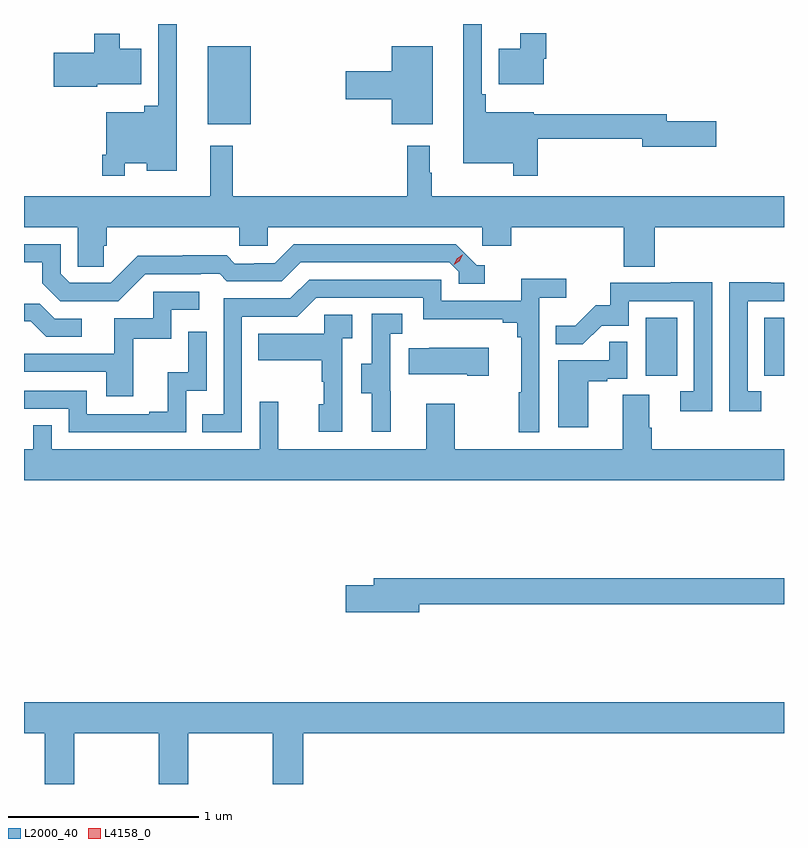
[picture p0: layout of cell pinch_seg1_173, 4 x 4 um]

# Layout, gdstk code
import gdstk
lib = gdstk.Library(unit=1e-6, precision=1e-09)
def R(c, l, rs):  # rectangles x0, y0, x1, y1
    for r in rs: c.add(gdstk.rectangle(r[:2], r[2:], *l))
def P(c, l, *ps):  # polygons
    for p in ps: c.add(gdstk.Polygon(p, *l))
L2000_40 = (2000, 40)
L4158_0 = (4158, 0)

pinch_seg1_173 = lib.new_cell('pinch_seg1_173')
R(pinch_seg1_173, L2000_40, [(1127.954,542.958,1128.118,543.265), (1128.578,542.958,1128.681,543.265), (1125.647,544.283,1125.874,544.693)])
P(pinch_seg1_173, L2000_40, [(1127.384,544.206),(1127.936,544.206),(1127.936,544.163),(1128.325,544.163),(1128.325,544.298),(1128.064,544.298),(1128.064,544.334),(1127.365,544.334),(1127.365,544.345),(1127.111,544.345),(1127.111,544.441),(1127.091,544.441),(1127.091,544.81),(1126.994,544.81),(1126.994,544.076),(1127.256,544.076),(1127.256,544.011),(1127.384,544.011)],
  [(1125.21,544.076),(1125.326,544.076),(1125.326,544.037),(1125.484,544.037),(1125.484,544.81),(1125.387,544.81),(1125.387,544.381),(1125.314,544.381),(1125.314,544.345),(1125.114,544.345),(1125.114,544.123),(1125.094,544.123),(1125.094,544.011),(1125.21,544.011)],
  [(1127.416,544.626),(1127.429,544.626),(1127.429,544.762),(1127.294,544.762),(1127.294,544.681),(1127.18,544.681),(1127.18,544.493),(1127.416,544.493)],
  [(1125.066,544.493),(1125.298,544.493),(1125.298,544.681),(1125.184,544.681),(1125.184,544.759),(1125.05,544.759),(1125.05,544.659),(1124.838,544.659),(1124.838,544.481),(1125.066,544.481)],
  [(1126.831,544.693),(1126.616,544.693),(1126.616,544.562),(1126.374,544.562),(1126.374,544.415),(1126.616,544.415),(1126.616,544.283),(1126.831,544.283)],
  [(1125.101,543.642),(1125.116,543.642),(1125.116,543.74),(1125.813,543.74),(1125.813,543.642),(1125.963,543.642),(1125.963,543.74),(1127.094,543.74),(1127.094,543.642),(1127.246,543.642),(1127.246,543.74),(1127.837,543.74),(1127.837,543.532),(1128.002,543.532),(1128.002,543.74),(1128.681,543.74),(1128.681,543.904),(1126.828,543.904),(1126.828,544.028),(1126.816,544.028),(1126.816,544.168),(1126.699,544.168),(1126.699,543.904),(1125.779,543.904),(1125.779,544.168),(1125.662,544.168),(1125.662,543.904),(1124.681,543.904),(1124.681,543.74),(1124.964,543.74),(1124.964,543.532),(1125.101,543.532)],
  [(1125.318,543.492),(1125.611,543.492),(1125.611,543.495),(1125.71,543.495),(1125.749,543.456),(1126.038,543.456),(1126.137,543.555),(1126.92,543.555),(1126.968,543.507),(1126.968,543.444),(1127.107,543.444),(1127.107,543.54),(1127.064,543.54),(1126.953,543.651),(1126.1,543.651),(1126.001,543.552),(1125.894,543.552),(1125.894,543.549),(1125.791,543.549),(1125.749,543.592),(1125.516,543.592),(1125.516,543.589),(1125.28,543.589),(1125.138,543.447),(1124.922,543.447),(1124.874,543.495),(1124.874,543.651),(1124.681,543.651),(1124.681,543.555),(1124.777,543.555),(1124.777,543.445),(1124.871,543.351),(1125.177,543.351)],
  [(1125.828,543.27),(1126.119,543.27),(1126.218,543.369),(1126.782,543.369),(1126.782,543.257),(1127.201,543.257),(1127.201,543.238),(1127.278,543.238),(1127.278,543.161),(1127.297,543.161),(1127.297,542.873),(1127.286,542.873),(1127.286,542.661),(1127.394,542.661),(1127.394,543.368),(1127.536,543.368),(1127.536,543.47),(1127.297,543.47),(1127.297,543.354),(1126.878,543.354),(1126.878,543.465),(1126.181,543.465),(1126.082,543.366),(1125.732,543.366),(1125.732,542.757),(1125.619,542.757),(1125.619,542.661),(1125.828,542.661)],
  [(1128.303,543.452),(1128.085,543.452),(1128.085,543.447),(1127.767,543.447),(1127.767,543.33),(1127.69,543.33),(1127.583,543.223),(1127.479,543.223),(1127.479,543.124),(1127.623,543.124),(1127.721,543.222),(1127.865,543.222),(1127.865,543.351),(1128.207,543.351),(1128.207,542.877),(1128.135,542.877),(1128.135,542.772),(1128.303,542.772)],
  [(1128.562,542.877),(1128.489,542.877),(1128.489,543.351),(1128.681,543.351),(1128.681,543.447),(1128.611,543.447),(1128.611,543.452),(1128.393,543.452),(1128.393,542.772),(1128.562,542.772)],
  [(1125.257,543.153),(1125.456,543.153),(1125.456,543.306),(1125.604,543.306),(1125.604,543.402),(1125.36,543.402),(1125.36,543.261),(1125.155,543.261),(1125.155,543.075),(1124.681,543.075),(1124.681,542.979),(1125.113,542.979),(1125.113,542.85),(1125.257,542.85)],
  [(1124.986,543.258),(1124.844,543.258),(1124.764,543.338),(1124.681,543.338),(1124.681,543.246),(1124.717,543.246),(1124.798,543.165),(1124.986,543.165)],
  [(1126.61,542.877),(1126.608,542.877),(1126.608,543.181),(1126.672,543.181),(1126.672,543.284),(1126.512,543.284),(1126.512,543.021),(1126.457,543.021),(1126.457,542.866),(1126.511,542.866),(1126.511,542.664),(1126.61,542.664)],
  [(1126.356,543.155),(1126.408,543.155),(1126.408,543.279),(1126.26,543.279),(1126.26,543.181),(1125.913,543.181),(1125.913,543.041),(1126.248,543.041),(1126.248,542.927),(1126.258,542.927),(1126.258,542.808),(1126.232,542.808),(1126.232,542.664),(1126.356,542.664)],
  [(1125.534,542.88),(1125.642,542.88),(1125.642,543.19),(1125.546,543.19),(1125.546,542.978),(1125.437,542.978),(1125.437,542.77),(1125.341,542.77),(1125.341,542.757),(1125.012,542.757),(1125.012,542.88),(1124.681,542.88),(1124.681,542.784),(1124.916,542.784),(1124.916,542.661),(1125.534,542.661)],
  [(1127.65,542.931),(1127.75,542.931),(1127.75,542.943),(1127.856,542.943),(1127.856,543.137),(1127.761,543.137),(1127.761,543.039),(1127.492,543.039),(1127.492,542.688),(1127.65,542.688)],
  [(1127.128,543.106),(1126.813,543.106),(1126.813,543.103),(1126.705,543.103),(1126.705,542.966),(1127.015,542.966),(1127.015,542.959),(1127.128,542.959)],
  [(1128.681,542.572),(1127.984,542.572),(1127.984,542.684),(1127.971,542.684),(1127.971,542.858),(1127.831,542.858),(1127.831,542.572),(1126.947,542.572),(1126.947,542.812),(1126.799,542.812),(1126.799,542.572),(1126.019,542.572),(1126.019,542.821),(1125.921,542.821),(1125.921,542.572),(1124.826,542.572),(1124.826,542.699),(1124.73,542.699),(1124.73,542.572),(1124.681,542.572),(1124.681,542.408),(1128.681,542.408)],
  [(1126.762,541.756),(1128.681,541.756),(1128.681,541.892),(1126.523,541.892),(1126.523,541.856),(1126.374,541.856),(1126.374,541.714),(1126.762,541.714)],
  [(1124.946,541.076),(1125.391,541.076),(1125.391,540.81),(1125.546,540.81),(1125.546,541.076),(1125.991,541.076),(1125.991,540.81),(1126.151,540.81),(1126.151,541.076),(1128.681,541.076),(1128.681,541.24),(1124.681,541.24),(1124.681,541.076),(1124.791,541.076),(1124.791,540.81),(1124.946,540.81)])
P(pinch_seg1_173, L4158_0, [(1126.943,543.542),(1126.943,543.542),(1126.958,543.575),(1126.988,543.595),(1126.989,543.595),(1126.989,543.595),(1126.973,543.562),(1126.943,543.542)])

lib.write_gds('pinch_seg1_173.gds')
